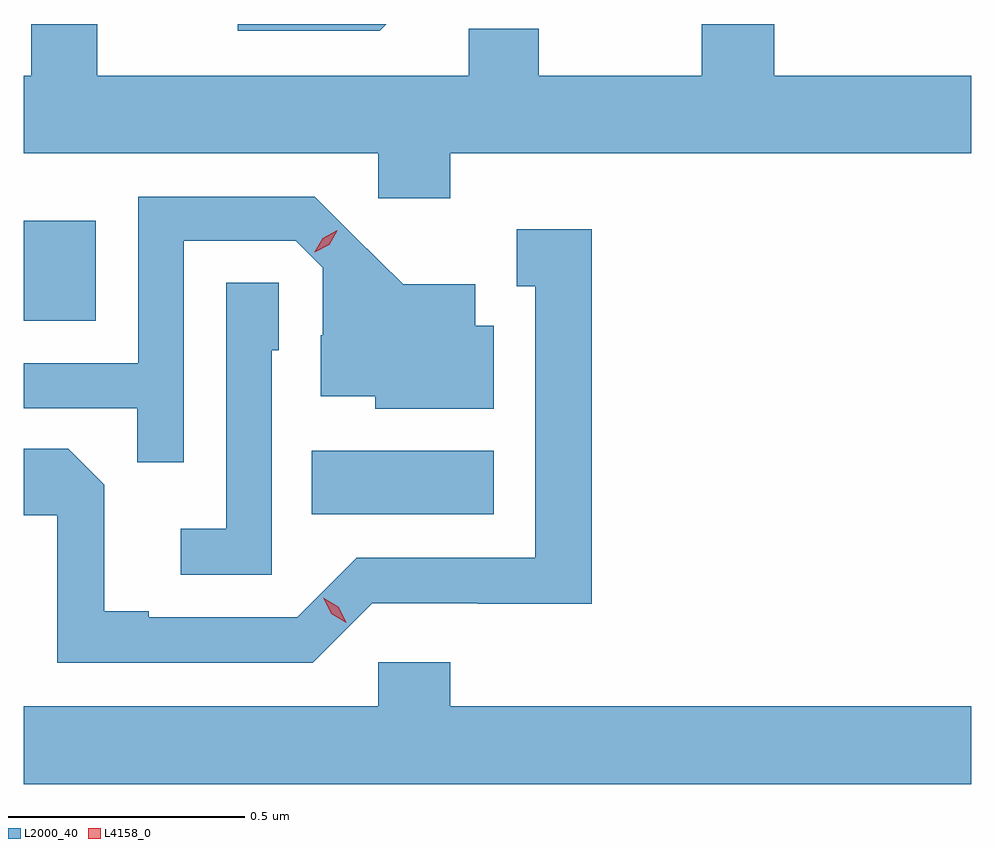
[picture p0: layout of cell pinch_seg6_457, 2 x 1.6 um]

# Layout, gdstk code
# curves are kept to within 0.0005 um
import gdstk
lib = gdstk.Library(unit=1e-6, precision=1e-09)
def R(c, l, rs):  # rectangles x0, y0, x1, y1
    for r in rs: c.add(gdstk.rectangle(r[:2], r[2:], *l))
def P(c, l, *ps):  # polygons
    for p in ps: c.add(gdstk.Polygon(p, *l))
L2000_40 = (2000, 40)
L4158_0 = (4158, 0)

pinch_seg6_457 = lib.new_cell('pinch_seg6_457')
R(pinch_seg6_457, L2000_40, [(722.782,921.266,723.166,921.4), (722.174,921.674,722.326,921.886)])
P(pinch_seg6_457, L2000_40, [(723.074,922.028),(724.174,922.028),(724.174,922.192),(723.758,922.192),(723.758,922.301),(723.605,922.301),(723.605,922.192),(723.261,922.192),(723.261,922.291),(723.113,922.291),(723.113,922.192),(722.329,922.192),(722.329,922.301),(722.189,922.301),(722.189,922.192),(722.174,922.192),(722.174,922.028),(722.922,922.028),(722.922,921.933),(723.074,921.933)],
  [(722.939,922.301),(722.625,922.301),(722.625,922.287),(722.925,922.287)],
  [(722.511,921.843),(722.748,921.843),(722.805,921.786),(722.805,921.644),(722.801,921.644),(722.801,921.515),(722.916,921.515),(722.916,921.488),(723.166,921.488),(723.166,921.664),(723.127,921.664),(723.127,921.751),(722.975,921.751),(722.788,921.936),(722.415,921.936),(722.415,921.585),(722.174,921.585),(722.174,921.489),(722.413,921.489),(722.413,921.376),(722.511,921.376)],
  [(722.91,921.078),(723.132,921.078),(723.132,921.077),(723.373,921.077),(723.373,921.868),(723.215,921.868),(723.215,921.747),(723.254,921.747),(723.254,921.174),(722.877,921.174),(722.751,921.048),(722.437,921.048),(722.437,921.061),(722.343,921.061),(722.343,921.328),(722.267,921.404),(722.174,921.404),(722.174,921.264),(722.244,921.264),(722.244,920.952),(722.784,920.952)],
  [(722.697,921.612),(722.712,921.612),(722.712,921.755),(722.601,921.755),(722.601,921.235),(722.505,921.235),(722.505,921.138),(722.697,921.138)],
  [(724.174,920.86),(723.074,920.86),(723.074,920.953),(722.922,920.953),(722.922,920.86),(722.174,920.86),(722.174,920.696),(724.174,920.696)])
P(pinch_seg6_457, L4158_0, [(722.855,921.037),(722.823,921.056),(722.806,921.089),(722.806,921.089),(722.806,921.089),(722.838,921.07),(722.855,921.038),(722.855,921.037)],
  [(722.788,921.819),(722.788,921.82),(722.805,921.849),(722.836,921.865),(722.836,921.865),(722.836,921.864),(722.819,921.835),(722.788,921.819)])

lib.write_gds('pinch_seg6_457.gds')
